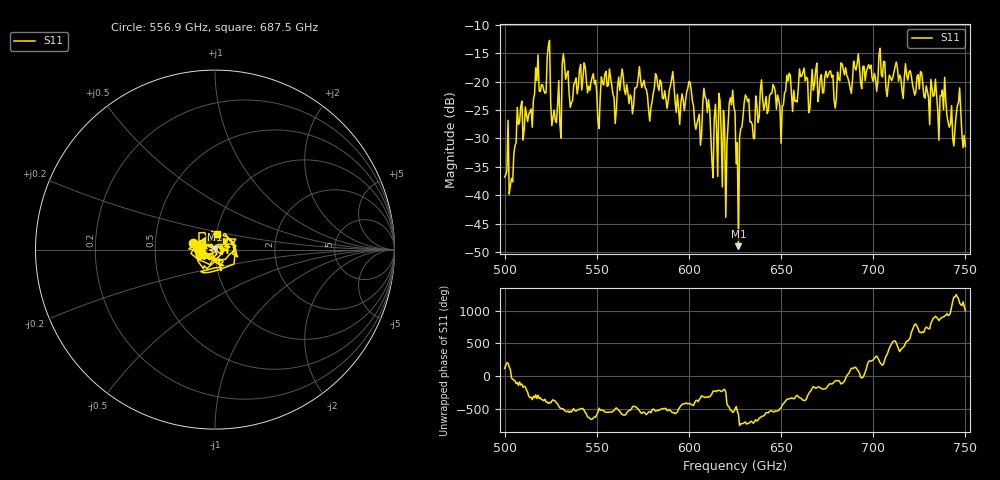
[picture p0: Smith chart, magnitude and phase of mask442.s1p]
!Created with skrf (http://scikit-rf.org).
# GHz S MA R 50.0
!freq magS11 angS11
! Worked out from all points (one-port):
!   401 points, 500 GHz to 750 GHz, reference 50 ohm
!   lowest |S11| = -49.0 dB at 626.9 GHz (marker M1), VSWR 1.01, Z = 49.8 + j0.265 ohm
!   |S11| at or under -10 dB: start of sweep to end of sweep
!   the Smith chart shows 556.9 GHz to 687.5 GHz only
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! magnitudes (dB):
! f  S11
! 500 GHz  -36.8
! 503.8 GHz  -37.0
! 508.1 GHz  -27.1
! 513.8 GHz  -25.3
! 517.5 GHz  -19.8
! 523.8 GHz  -13.7
! 526.9 GHz  -25.0
! 531.2 GHz  -16.9
! 562.5 GHz  -21.6
! 593.8 GHz  -22.2
! 600 GHz  -20.0
! 605.6 GHz  -25.7
! 609.4 GHz  -23.1
! 612.5 GHz  -34.1
! 617.5 GHz  -28.8
! 619.4 GHz  -28.4
! 622.5 GHz  -22.8
! 625 GHz  -25.4
! 626.9 GHz  -49.0
! 631.2 GHz  -22.7
! 634.4 GHz  -27.6
! 640 GHz  -23.1
! 656.2 GHz  -25.3
! 687.5 GHz  -21.2
! 718.8 GHz  -19.7
! 742.5 GHz  -24.2
! 746.2 GHz  -23.6
! 750 GHz  -31.4
